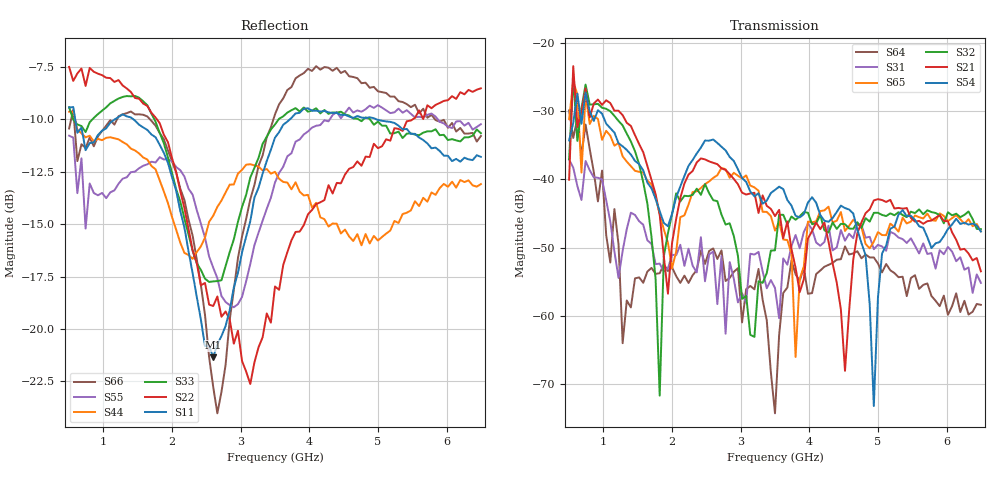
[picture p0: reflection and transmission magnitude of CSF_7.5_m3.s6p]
!Keysight Technologies,M9804A,MY58100912,A.14.10.03
!Date: Thursday, April 27, 2023 10:28:33
!Correction: S11(C  6-Port  )
!S12(C  6-Port  )
!S13(C  6-Port  )
!S14(C  6-Port  )
!S15(C  6-Port  )
!S16(C  6-Port  )
!S21(C  6-Port  )
!S22(C  6-Port  )
!S23(C  6-Port  )
!S24(C  6-Port  )
!S25(C  6-Port  )
!S26(C  6-Port  )
!S31(C  6-Port  )
!S32(C  6-Port  )
!S33(C  6-Port  )
!S34(C  6-Port  )
!S35(C  6-Port  )
!S36(C  6-Port  )
!S41(C  6-Port  )
!S42(C  6-Port  )
!S43(C  6-Port  )
!S44(C  6-Port  )
!S45(C  6-Port  )
!S46(C  6-Port  )
!S51(C  6-Port  )
!S52(C  6-Port  )
!S53(C  6-Port  )
!S54(C  6-Port  )
!S55(C  6-Port  )
!S56(C  6-Port  )
!S61(C  6-Port  )
!S62(C  6-Port  )
!S63(C  6-Port  )
!S64(C  6-Port  )
!S65(C  6-Port  )
!S66(C  6-Port  )
!S6P File: Measurement: :
# Hz S  RI  R 50
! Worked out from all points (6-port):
!   101 points, 500 MHz to 6.5 GHz, reference 50 ohm
!   strongest paths, dB at 500 MHz, 2 GHz, 3.5 GHz, 5 GHz, 6.5 GHz:
!     S54: -34.3, -45.1, -41.5, -57.3, -47.6
!     S21: -40.1, -49.3, -45.4, -42.9, -53.5
!     S32: -37.0, -45.1, -50.4, -44.9, -47.3
!     S65: -31.2, -53.0, -47.5, -47.7, -47.6
!     S31: -37.1, -51.1, -55.9, -49.6, -55.2
!     S64: -29.9, -52.9, -74.3, -52.3, -58.4
!   lowest |S11| = -21.4 dB at 2.6 GHz (marker M1), VSWR 1.19, Z = 42.4 + j2.25 ohm
!   |S11| at or under -10 dB: 588.8 MHz to 1.165 GHz (576.6 MHz wide, 65.7 % of centre); 1.437 GHz to 3.716 GHz (2.279 GHz wide, 88.4 % of centre); 4.979 GHz to end of sweep
